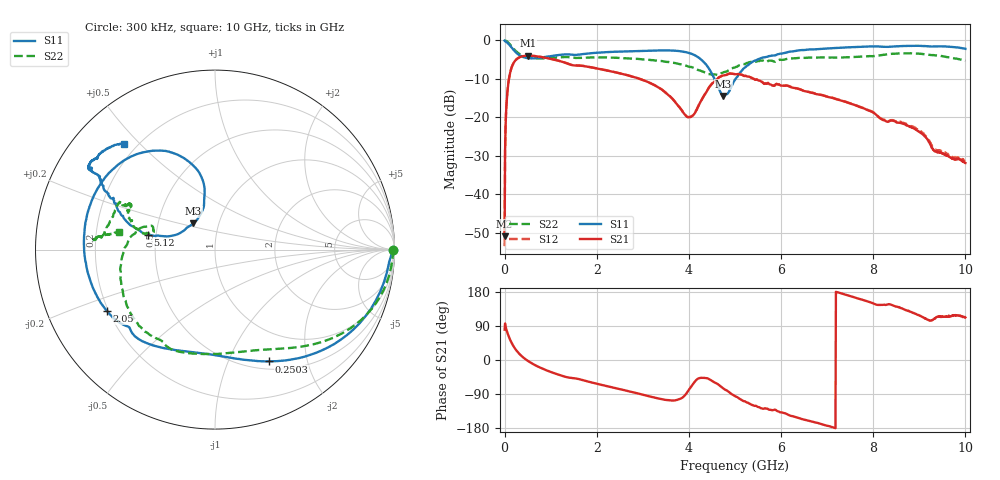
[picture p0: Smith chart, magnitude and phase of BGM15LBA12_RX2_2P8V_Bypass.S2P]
!Agilent Technologies,E5071C,MY46316587,B.13.01
!Date: Thu Dec 07 14:02:48 2017
!Data & Calibration Information:
!Freq	S11:SOLT2(ON)	S21:SOLT2(ON)	S12:SOLT2(ON)	S22:SOLT2(ON)
!PortZ  Port1:50+j0  Port2:50+j0
!Above PortZ is port z conversion or system Z0 setting when saving the data.
!When reading, reference impedance value at option line is always used.
# Hz S dB R 50
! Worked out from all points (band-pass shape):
!   1001 points, 300 kHz to 10 GHz, reference 50 ohm
!   highest |S21| = -4.00 dB at 510.3 MHz (marker M1); lowest = -50.9 dB at 300 kHz (marker M2)
!   |S21| within 3 dB of the highest: 154.6 MHz to 1.865 GHz (1.711 GHz wide, 169 % of centre)
!   lowest |S11| = -14.4 dB at 4.75 GHz (marker M3), VSWR 1.47, Z = 37.8 + j11.5 ohm
!   |S11| at or under -10 dB: 4.554 GHz to 5.013 GHz (459.4 MHz wide, 9.6 % of centre)
!   |S22| runs from -9.0 to -0.1 dB; largest |S21 - S12| = 0.0038
!   S11 on the Smith chart (normalised r, x): 300 kHz: open; 250.3 MHz: 0.59, -1.42; 2.05 GHz: 0.19, -0.26; 5.12 GHz: 0.45, +0.09; 10 GHz: 0.15, +0.45
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300000  -0.09 -0.3  -50.86 80.2  -53.43 50.8  -0.05 -0.2
6.02982e7  -0.64 -20.9  -13.46 72.0  -13.37 72.1  -0.39 -16.1
8.02976e7  -0.87 -27.0  -11.23 65.4  -11.17 65.2  -0.61 -20.9
1.502955e8  -1.88 -45.6  -7.14 45.8  -7.10 45.5  -1.57 -35.0
2.502925e8  -3.21 -64.3  -5.03 26.1  -5.00 25.9  -2.87 -49.0
5.102847e8  -4.65 -91.9  -4.00 -2.7  -3.98 -3.0  -4.48 -71.0
1.01027e9  -4.11 -119.0  -4.86 -31.9  -4.83 -32.1  -4.61 -99.1
1.67025e9  -3.64 -140.2  -6.63 -52.3  -6.58 -52.3  -4.57 -122.4
2.050238e9  -3.19 -150.3  -7.42 -64.1  -7.39 -63.9  -4.45 -131.8
3.3402e9  -2.63 164.9  -12.26 -101.5  -12.26 -101.2  -5.35 -166.4
4.020179e9  -3.37 127.5  -19.97 -75.2  -19.85 -75.3  -6.90 167.5
4.230173e9  -4.65 113.3  -16.48 -47.8  -16.41 -47.4  -7.81 161.6
4.460166e9  -7.85 100.4  -11.86 -52.1  -11.86 -52.1  -8.82 161.4
4.750158e9  -14.45 129.3  -9.13 -75.6  -9.13 -75.6  -8.32 166.4
5.00015e9  -10.25 165.8  -8.78 -95.2  -8.76 -95.2  -7.04 165.3
5.120146e9  -8.29 167.4  -8.88 -103.6  -8.86 -103.7  -6.38 163.1
5.580133e9  -4.57 157.1  -10.80 -127.7  -10.76 -127.9  -5.26 153.0
6.6701e9  -2.38 147.5  -13.65 -162.2  -13.59 -162.1  -4.49 154.6
8.34005e9  -1.69 147.3  -21.07 147.3  -20.95 147.1  -3.60 174.9
8.880034e9  -1.44 145.2  -22.87 124.1  -22.53 123.9  -3.40 174.9
9.34002e9  -1.59 141.9  -28.82 109.3  -28.43 108.4  -3.90 173.5
1e10  -2.22 130.7  -31.87 112.3  -31.48 113.6  -5.31 169.3
